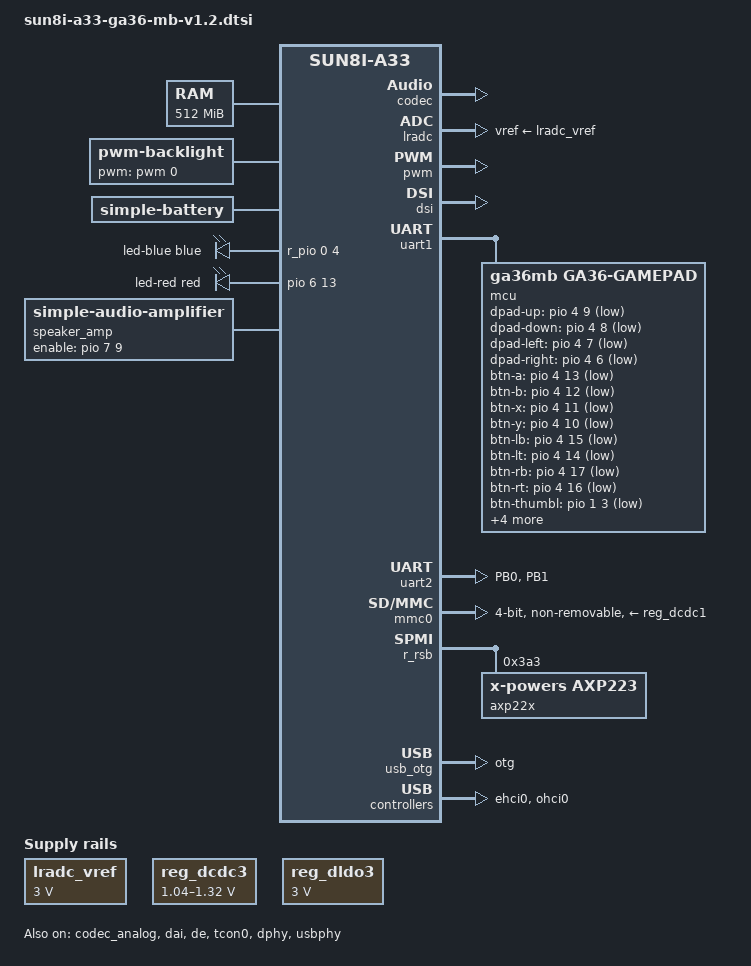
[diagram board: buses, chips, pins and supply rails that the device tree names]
// SPDX-License-Identifier: GPL-2.0
/*
 * GA36-MB V1.2 (Allwinner A33), the part shared by both panel variants.
 *
 * Port of ga36mb.dtsi / ga36mb-a33.dtsi from goodluckOS (GPL-2.0,
 * github.com/CodeZombie/goodluckOS, commit 8d676e2327a6) to Linux 6.18 LTS,
 * with the values of appendix B of the design (openspec/changes/alpine-retroarch-distro).
 *
 * Differences from goodluckOS:
 *  - A on PE13 and B on PE12 (goodluckOS has them swapped);
 *  - the CPU OPPs, the thermal zones and the sensor (ths) stay as in the mainline
 *    sun8i-a33.dtsi (CPU up to 1008 MHz in this version); the GPU only gains its
 *    supply and the matching opp-microvolt (task 9.10, see &mali below);
 *  - the panel is chosen by compatible, one per variant, without "panel-id";
 *  - default brightness 80 (level 8), as in the factory firmware;
 *  - a 512 MiB memory node as in goodluckOS, only as a fallback: the vendor U-Boot
 *    passes the real memory by ATAG and the kernel's ARM_ATAG_DTB_COMPAT writes it here;
 *  - mmc1 (PG) off; mmc0 is the boot card;
 *  - uart1_pg_pins comes from sun8i-a23-a33.dtsi and is not redefined;
 *  - names and properties accepted by the 6.18 bindings: the gamepad node is
 *    "mcu", the AXP has no system-power-controller (the driver already cuts the
 *    power) and the D-PHY has no vcc-supply.
 */

#include "sun8i-a33.dtsi"

#include <dt-bindings/gpio/gpio.h>
#include <dt-bindings/input/linux-event-codes.h>
#include <dt-bindings/leds/common.h>

/ {
	aliases {
		/* ttyS1 = UART2 (PB0/PB1): serial de debug a 115200 */
		serial0 = &uart1;
		serial1 = &uart2;
		mmc0 = &mmc0;
	};

	chosen {
		stdout-path = "serial1:115200n8";
	};

	/*
	 * Reserva de 512 MiB (há relatos de 512 MiB e de 1 GiB nesta placa). O U-Boot do
	 * fabricante passa a DRAM real por ATAG_MEM, e o kernel (ARM_ATAG_DTB_COMPAT)
	 * substitui este valor; sem ATAG, o kernel ainda sobe com 512 MiB.
	 */
	memory@40000000 {
		device_type = "memory";
		reg = <0x40000000 0x20000000>;
	};

	backlight: backlight {
		compatible = "pwm-backlight";
		pwms = <&pwm 0 50000 0>;	/* PWM0 em PH0, 20 kHz, não invertido */
		brightness-levels = <0 10 20 30 40 50 60 70 80 90 100>;
		default-brightness-level = <8>;	/* 80 */
	};

	bat: battery {
		compatible = "simple-battery";
		charge-full-design-microamp-hours = <3000000>;
		factory-internal-resistance-micro-ohms = <119000>;
		voltage-max-design-microvolt = <4200000>;
		voltage-min-design-microvolt = <3300000>;
	};

	/* vref fixo de 3,0 V do LRADC (botões de volume) */
	lradc_vref: lradc-vref {
		compatible = "regulator-fixed";
		regulator-name = "lradc-vref";
		regulator-min-microvolt = <3000000>;
		regulator-max-microvolt = <3000000>;
	};

	leds {
		compatible = "gpio-leds";

		led-blue {
			function = LED_FUNCTION_STATUS;
			color = <LED_COLOR_ID_BLUE>;
			gpios = <&r_pio 0 4 GPIO_ACTIVE_HIGH>;	/* PL4 */
			default-state = "off";
		};

		led-red {
			function = LED_FUNCTION_INDICATOR;
			color = <LED_COLOR_ID_RED>;
			gpios = <&pio 6 13 GPIO_ACTIVE_HIGH>;	/* PG13 */
			default-state = "off";
		};
	};

	speaker_amp: audio-amplifier {
		compatible = "simple-audio-amplifier";
		enable-gpios = <&pio 7 9 GPIO_ACTIVE_HIGH>;	/* PH9 */
		sound-name-prefix = "Speaker Amp";
	};
};

&codec {
	status = "okay";
};

&codec_analog {
	status = "okay";
};

&dai {
	status = "okay";
};

&sound {
	status = "okay";
	simple-audio-card,name = "GA36-MB";
	simple-audio-card,aux-devs = <&codec_analog>, <&speaker_amp>;
	simple-audio-card,widgets =
		"Speaker", "Speaker",
		"Headphone", "Headphone Jack";
	/* sem detecção de fone */
	simple-audio-card,pin-switches = "Speaker";
	simple-audio-card,routing =
		"Left DAC", "DACL",
		"Right DAC", "DACR",
		"Speaker Amp INL", "HP",
		"Speaker Amp INR", "HP",
		"Speaker", "Speaker Amp OUTL",
		"Speaker", "Speaker Amp OUTR",
		"Headphone Jack", "HP",
		"Headphone Jack", "HPCOM";
};

&lradc {
	vref-supply = <&lradc_vref>;
	status = "okay";

	button-200 {
		label = "Volume Up";
		linux,code = <KEY_VOLUMEUP>;
		channel = <0>;
		voltage = <200000>;
	};

	button-400 {
		label = "Volume Down";
		linux,code = <KEY_VOLUMEDOWN>;
		channel = <0>;
		voltage = <400000>;
	};
};

&pwm {
	pinctrl-names = "default";
	pinctrl-0 = <&pwm0_pin>;
	status = "okay";
};

&pio {
	vcc-pb-supply = <&reg_dcdc1>;
	vcc-pf-supply = <&reg_dcdc1>;
	vcc-pg-supply = <&reg_dcdc1>;
	vcc-ph-supply = <&reg_dcdc1>;

	uart2_pb_pins: uart2-pb-pins {
		pins = "PB0", "PB1";
		function = "uart2";
	};
};

&de {
	status = "okay";
};

&tcon0 {
	status = "okay";
};

/* O D-PHY mainline não tem alimentação própria: o dldo3 entra pelo DSI */
&dphy {
	status = "okay";
};

&dsi {
	vcc-dsi-supply = <&reg_dldo3>;
	status = "okay";

	/* compatible da variante em cada .dts */
	panel: panel@0 {
		reg = <0>;
		power-supply = <&reg_dc1sw>;
		reset-gpios = <&pio 7 7 GPIO_ACTIVE_LOW>;	/* PH7 */
		backlight = <&backlight>;
	};
};

/* Controle: analógicos por um microcontrolador em UART1 (PG6/PG7, 9600 baud) e
 * botões em GPIO, num único dispositivo de entrada (driver em kernel/patches/). */
&uart1 {
	pinctrl-names = "default";
	pinctrl-0 = <&uart1_pg_pins>;
	status = "okay";

	/* "mcu": nome de filho de serial aceito pelo binding (serial.yaml) */
	mcu {
		compatible = "ga36mb,ga36-gamepad";
		dpad-up-gpios = <&pio 4 9 GPIO_ACTIVE_LOW>;	/* PE9 */
		dpad-down-gpios = <&pio 4 8 GPIO_ACTIVE_LOW>;	/* PE8 */
		dpad-left-gpios = <&pio 4 7 GPIO_ACTIVE_LOW>;	/* PE7 */
		dpad-right-gpios = <&pio 4 6 GPIO_ACTIVE_LOW>;	/* PE6 */
		btn-a-gpios = <&pio 4 13 GPIO_ACTIVE_LOW>;	/* PE13 */
		btn-b-gpios = <&pio 4 12 GPIO_ACTIVE_LOW>;	/* PE12 */
		btn-x-gpios = <&pio 4 11 GPIO_ACTIVE_LOW>;	/* PE11 */
		btn-y-gpios = <&pio 4 10 GPIO_ACTIVE_LOW>;	/* PE10 */
		btn-lb-gpios = <&pio 4 15 GPIO_ACTIVE_LOW>;	/* PE15, L1 */
		btn-lt-gpios = <&pio 4 14 GPIO_ACTIVE_LOW>;	/* PE14, L2 */
		btn-rb-gpios = <&pio 4 17 GPIO_ACTIVE_LOW>;	/* PE17, R1 */
		btn-rt-gpios = <&pio 4 16 GPIO_ACTIVE_LOW>;	/* PE16, R2 */
		btn-thumbl-gpios = <&pio 1 3 GPIO_ACTIVE_LOW>;	/* PB3, L3 */
		btn-thumbr-gpios = <&pio 1 2 GPIO_ACTIVE_LOW>;	/* PB2, R3 */
		btn-start-gpios = <&pio 4 4 GPIO_ACTIVE_LOW>;	/* PE4 */
		btn-select-gpios = <&pio 4 5 GPIO_ACTIVE_LOW>;	/* PE5 */
		btn-fn-gpios = <&pio 4 1 GPIO_ACTIVE_LOW>;	/* PE1 */
	};
};

&uart2 {
	pinctrl-names = "default";
	pinctrl-0 = <&uart2_pb_pins>;
	status = "okay";
};

/* Cartão de boot: tratado como fixo (o sistema roda dele) */
&mmc0 {
	pinctrl-names = "default";
	pinctrl-0 = <&mmc0_pins>;
	vmmc-supply = <&reg_dcdc1>;
	bus-width = <4>;
	non-removable;
	status = "okay";
};

&r_rsb {
	status = "okay";

	axp22x: pmic@3a3 {
		compatible = "x-powers,axp223";
		reg = <0x3a3>;
		interrupt-parent = <&r_intc>;
		interrupts = <GIC_SPI 32 IRQ_TYPE_LEVEL_LOW>;
		/*
		 * Sem system-power-controller: no 6.18 o driver axp20x registra o corte de
		 * energia no poweroff sempre (exceto na AXP288), e o binding não aceita a
		 * propriedade. O goodluckOS precisava da antiga
		 * x-powers,system-power-controller num kernel anterior.
		 */
	};
};

#include "axp223.dtsi"

&battery_power_supply {
	monitored-battery = <&bat>;
	status = "okay";
};

&usb_power_supply {
	status = "okay";
};

&cpu0 {
	cpu-supply = <&reg_dcdc3>;
};

&reg_dcdc1 {
	regulator-always-on;
	regulator-name = "vcc-io";
};

&reg_dcdc2 {
	regulator-always-on;
	regulator-name = "vdd-sys";
};

/*
 * GPU supply (task 9.10). On the A33 the Mali-400 sits on vdd-sys (dcdc2), the rail of the
 * whole system domain; the factory firmware runs the GPU up to 408 MHz at 1.10 V on it
 * (docs/referencia/ga36-emuelec/gpu.md). With mali-supply the OPP core requires
 * opp-microvolt on every OPP, so each GPU OPP asks for the same 1.10 V (range 1.00-1.20 V).
 * dcdc2 has no voltage range in this DTS, so the kernel may not change it: the request
 * only confirms the current voltage and vdd-sys never moves with the GPU clock. The GPU
 * frequencies (144, 240, 384 MHz) stay as in sun8i-a33.dtsi; the CPU OPPs are untouched.
 */
&mali {
	mali-supply = <&reg_dcdc2>;
};

&mali_opp_table {
	opp-144000000 {
		opp-microvolt = <1100000 1000000 1200000>;
	};

	opp-240000000 {
		opp-microvolt = <1100000 1000000 1200000>;
	};

	opp-384000000 {
		opp-microvolt = <1100000 1000000 1200000>;
	};
};

&reg_dcdc3 {
	regulator-always-on;
	regulator-min-microvolt = <1040000>;
	regulator-max-microvolt = <1320000>;
	regulator-name = "vdd-cpu";
};

&reg_dcdc5 {
	regulator-always-on;
	regulator-name = "vcc-dram";
};

&reg_dc1sw {
	regulator-boot-on;
	regulator-name = "vcc-lcd";
};

&reg_dldo3 {
	regulator-min-microvolt = <3000000>;
	regulator-max-microvolt = <3000000>;
	regulator-name = "vcc-dsi";
};

&reg_aldo1 {
	regulator-always-on;
	regulator-name = "vcc-aldo1";
};

&reg_aldo2 {
	regulator-always-on;
	regulator-name = "vcc-aldo2";
};

&reg_aldo3 {
	regulator-always-on;
	regulator-name = "vcc-aldo3";
};

&reg_dc5ldo {
	regulator-always-on;
	regulator-name = "vdd-cpus";
};

&reg_drivevbus {
	regulator-name = "usb0-vbus";
	status = "okay";
};

&usb_otg {
	dr_mode = "otg";
	status = "okay";
};

&usbphy {
	usb0_id_det-gpios = <&pio 7 8 GPIO_ACTIVE_HIGH>;	/* PH8 */
	usb0_vbus_power-supply = <&usb_power_supply>;
	status = "okay";
};

&ehci0 {
	status = "okay";
};

&ohci0 {
	status = "okay";
};
